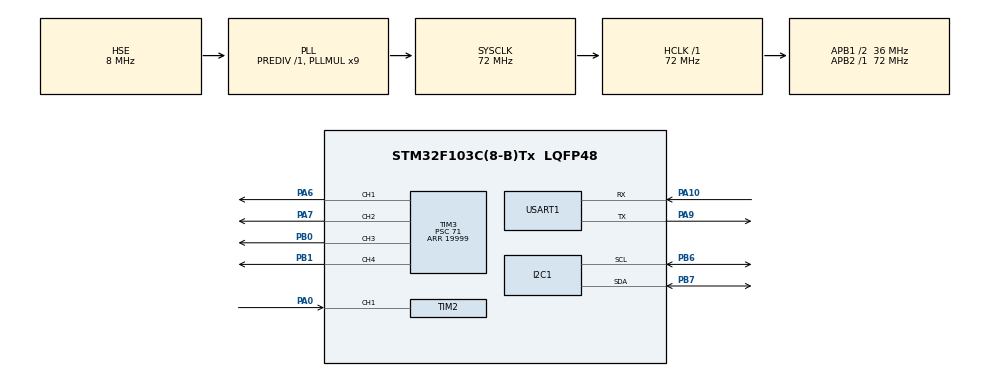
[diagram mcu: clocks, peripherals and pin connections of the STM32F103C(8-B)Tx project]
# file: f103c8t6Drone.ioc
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I2C1.I2C_Mode=I2C_Fast
Mcu.Family=STM32F1
Mcu.Name=STM32F103C(8-B)Tx
Mcu.Package=LQFP48
NVIC.PriorityGroup=NVIC_PRIORITYGROUP_4
NVIC.TIM2_IRQn=true\:0\:0\:false\:false\:true\:true\:true\:true
NVIC.USART1_IRQn=true\:0\:0\:false\:false\:true\:true\:true\:true
PA0-WKUP.Signal=S_TIM2_CH1_ETR
PA10.Mode=Asynchronous
PA10.Signal=USART1_RX
PA13.Mode=Serial_Wire
PA13.Signal=SYS_JTMS-SWDIO
PA14.Mode=Serial_Wire
PA14.Signal=SYS_JTCK-SWCLK
PA6.Signal=S_TIM3_CH1
PA7.Signal=S_TIM3_CH2
PA9.Mode=Asynchronous
PA9.Signal=USART1_TX
PB0.Signal=S_TIM3_CH3
PB1.Signal=S_TIM3_CH4
PB6.Mode=I2C
PB6.Signal=I2C1_SCL
PB7.Mode=I2C
PB7.Signal=I2C1_SDA
PD0-OSC_IN.Mode=HSE-External-Oscillator
PD0-OSC_IN.Signal=RCC_OSC_IN
PD1-OSC_OUT.Mode=HSE-External-Oscillator
PD1-OSC_OUT.Signal=RCC_OSC_OUT
ProjectManager.HeapSize=0x200
ProjectManager.StackSize=0x400
ProjectManager.TargetToolchain=STM32CubeIDE
RCC.AHBFreq_Value=72000000
RCC.APB1CLKDivider=RCC_HCLK_DIV2
RCC.APB1Freq_Value=36000000
RCC.APB1TimFreq_Value=72000000
RCC.APB2Freq_Value=72000000
RCC.APB2TimFreq_Value=72000000
RCC.HCLKFreq_Value=72000000
RCC.PLLMUL=RCC_PLL_MUL9
RCC.PLLSourceVirtual=RCC_PLLSOURCE_HSE
RCC.SYSCLKFreq_VALUE=72000000
RCC.SYSCLKSource=RCC_SYSCLKSOURCE_PLLCLK
RCC.USBFreq_Value=72000000
SH.S_TIM2_CH1_ETR.0=TIM2_CH1,Input_Capture1_from_TI1
SH.S_TIM2_CH1_ETR.1=TIM2_CH1,TriggerSource_TI1FP1
SH.S_TIM3_CH1.0=TIM3_CH1,PWM Generation1 CH1
SH.S_TIM3_CH2.0=TIM3_CH2,PWM Generation2 CH2
SH.S_TIM3_CH3.0=TIM3_CH3,PWM Generation3 CH3
SH.S_TIM3_CH4.0=TIM3_CH4,PWM Generation4 CH4
TIM2.Channel-Input_Capture1_from_TI1=TIM_CHANNEL_1
TIM2.Prescaler=71
TIM3.Channel-PWM\ Generation1\ CH1=TIM_CHANNEL_1
TIM3.Channel-PWM\ Generation2\ CH2=TIM_CHANNEL_2
TIM3.Channel-PWM\ Generation3\ CH3=TIM_CHANNEL_3
TIM3.Channel-PWM\ Generation4\ CH4=TIM_CHANNEL_4
TIM3.Period=19999
TIM3.Prescaler=71
TIM3.Pulse-PWM\ Generation1\ CH1=1000
TIM3.Pulse-PWM\ Generation2\ CH2=1000
TIM3.Pulse-PWM\ Generation3\ CH3=1000
TIM3.Pulse-PWM\ Generation4\ CH4=1000
USART1.VirtualMode=VM_ASYNC
VP_TIM2_VS_ClockSourceINT.Mode=Internal
VP_TIM2_VS_ControllerModeReset.Mode=Reset Mode
VP_TIM3_VS_ClockSourceINT.Mode=Internal
board=custom

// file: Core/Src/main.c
/* USER CODE BEGIN Header */
/**
  ******************************************************************************
  * @file           : main.c
  * @brief          : 主程序体
  ******************************************************************************
  * @attention
  *
  * 版权所有 (c) 2025 STMicroelectronics。
  * 保留所有权利。
  *
  * 本软件根据根目录中的 LICENSE 文件中的条款进行许可。
  * 如果没有提供 LICENSE 文件，则按原样提供。
  *
  ******************************************************************************
  */
/* USER CODE END Header */

/* 包含文件 ------------------------------------------------------------------*/
#include "main.h"
#include "i2c.h"
#include "tim.h"
#include "usart.h"
#include "gpio.h"

/* 私有包含文件 ----------------------------------------------------------*/
/* USER CODE BEGIN Includes */
#include <stdio.h>
#include <string.h>
#include <math.h>
#include "pid.h"
#include "mpu6050.h"
/* USER CODE END Includes */

/* 私有类型定义 -----------------------------------------------------------*/

/* 私有宏定义 ------------------------------------------------------------*/
/* USER CODE BEGIN PD */
#define MAX_CHANNELS 6
#define ARM_THRESHOLD 1300
#define YAW_ARM_MAX 1800
#define YAW_DISARM_MIN 1200
#define FAILSAFE_TIMEOUT 1000
#define PPM_SYNC_MIN 3000
#define PPM_PULSE_MIN 900
#define PPM_PULSE_MAX 2100
/* USER CODE END PD */

/* 私有变量 ---------------------------------------------------------*/
/* USER CODE BEGIN PV */
uint32_t ppm_pulse_widths[MAX_CHANNELS] = {1500, 1500, 1500, 1500, 1500, 1500};
uint8_t ppm_channel_index = 0;
uint8_t ppm_frame_complete = 0;
uint32_t last_pulse_width = 0;
uint32_t last_ppm_time = 0;

uint8_t txBuffer[200];
volatile uint8_t txComplete = 1;

uint16_t throttle, roll_in, pitch_in, yaw_in, aux1, aux2;
uint8_t armed = 0;

float filtered_pitch = 0.0f;
float filtered_roll = 0.0f;
float yaw_rate = 0.0f;

PID_t pid_pitch;
PID_t pid_roll;
PID_t pid_yaw;

uint16_t motor[4];
/* USER CODE END PV */

/* 私有函数原型 -----------------------------------------------*/
void SystemClock_Config(void);
void loop_control(float pitch, float roll, float yaw_rate, uint16_t *pwm_values, float *mix_values);
void read_ppm_channels(void);
void failsafe_check(void);

/* 私有用户代码 ---------------------------------------------------------*/
/* USER CODE BEGIN 0 */
void loop_control(float pitch, float roll, float yaw_rate, uint16_t *pwm_values, float *mix_values)
{
    static uint32_t last_debug = 0;
    if (HAL_GetTick() - last_debug > 500) {
        last_debug = HAL_GetTick();
    }

    for (uint8_t i = 0; i < MAX_CHANNELS; i++) {
        ppm_pulse_widths[i] = fminf(fmaxf(ppm_pulse_widths[i], PPM_PULSE_MIN), PPM_PULSE_MAX);
    }

    float throttle = (ppm_pulse_widths[2] - 1000) / 1000.0f;
    float target_pitch = ((ppm_pulse_widths[1] - 1500) / 500.0f) * 30.0f;
    float target_roll = ((ppm_pulse_widths[0] - 1500) / 500.0f) * 30.0f;
    float target_yaw = ((ppm_pulse_widths[3] - 1500) / 500.0f) * 30.0f;

    throttle = fminf(fmaxf(throttle, 0.0f), 1.0f);
    target_pitch = fminf(fmaxf(target_pitch, -30.0f), 30.0f);
    target_roll = fminf(fmaxf(target_roll, -30.0f), 30.0f);
    target_yaw = fminf(fmaxf(target_yaw, -30.0f), 30.0f);

    float pitch_output = PID_Update(&pid_pitch, target_pitch, pitch, 0.01f);
    float roll_output = PID_Update(&pid_roll, target_roll, roll, 0.01f);
    float yaw_output = PID_Update(&pid_yaw, target_yaw, yaw_rate, 0.01f);

    mix_values[4] = throttle;
    mix_values[5] = target_pitch;
    mix_values[6] = pitch_output;
    mix_values[7] = target_roll;
    mix_values[8] = roll_output;
    mix_values[9] = target_yaw;
    mix_values[10] = yaw_output;

    float m1 = throttle + pitch_output - roll_output + yaw_output;
    float m2 = throttle + pitch_output + roll_output - yaw_output;
    float m3 = throttle - pitch_output + roll_output + yaw_output;
    float m4 = throttle - pitch_output - roll_output - yaw_output;

    mix_values[0] = fminf(fmaxf(m1, 0.0f), 1.0f);
    mix_values[1] = fminf(fmaxf(m2, 0.0f), 1.0f);
    mix_values[2] = fminf(fmaxf(m3, 0.0f), 1.0f);
    mix_values[3] = fminf(fmaxf(m4, 0.0f), 1.0f);

    pwm_values[0] = (uint16_t)(mix_values[0] * 1000 + 1000);
    pwm_values[1] = (uint16_t)(mix_values[1] * 1000 + 1000);
    pwm_values[2] = (uint16_t)(mix_values[2] * 1000 + 1000);
    pwm_values[3] = (uint16_t)(mix_values[3] * 1000 + 1000);

    if (armed) {
        __HAL_TIM_SET_COMPARE(&htim3, TIM_CHANNEL_1, pwm_values[0]);
        __HAL_TIM_SET_COMPARE(&htim3, TIM_CHANNEL_2, pwm_values[1]);
        __HAL_TIM_SET_COMPARE(&htim3, TIM_CHANNEL_3, pwm_values[2]);
        __HAL_TIM_SET_COMPARE(&htim3, TIM_CHANNEL_4, pwm_values[3]);
    } else {
        for (int i = 0; i < 4; i++) {
            __HAL_TIM_SET_COMPARE(&htim3, TIM_CHANNEL_1 + i, 1000);
            pwm_values[i] = 1000;
        }
    }
}

void HAL_TIM_IC_CaptureCallback(TIM_HandleTypeDef *htim)
{
    if (htim->Instance == TIM2 && htim->Channel == HAL_TIM_ACTIVE_CHANNEL_1)
    {
        uint32_t pulse_width = HAL_TIM_ReadCapturedValue(htim, TIM_CHANNEL_1);
        if (pulse_width >= PPM_PULSE_MIN && pulse_width <= PPM_PULSE_MAX) {
            static uint32_t last_debug = 0;
            if (HAL_GetTick() - last_debug > 100) {
                last_debug = HAL_GetTick();
            }

            if (last_pulse_width > PPM_SYNC_MIN)
            {
                ppm_channel_index = 0;
            }
            if (ppm_channel_index < MAX_CHANNELS)
            {
                ppm_pulse_widths[ppm_channel_index] = pulse_width;
                ppm_channel_index++;
            }
            if (ppm_channel_index >= MAX_CHANNELS)
            {
                ppm_frame_complete = 1;
                last_ppm_time = HAL_GetTick();
                ppm_channel_index = 0;
            }
        }
        last_pulse_width = pulse_width;
    }
}

void read_ppm_channels(void)
{
    for (uint8_t i = 0; i < MAX_CHANNELS; i++) {
        ppm_pulse_widths[i] = (ppm_pulse_widths[i] < PPM_PULSE_MIN || ppm_pulse_widths[i] > PPM_PULSE_MAX) ? 1500 : ppm_pulse_widths[i];
    }
    roll_in = ppm_pulse_widths[0];
    pitch_in = ppm_pulse_widths[1];
    throttle = ppm_pulse_widths[2];
    yaw_in = ppm_pulse_widths[3];
    aux1 = ppm_pulse_widths[4];
    aux2 = ppm_pulse_widths[5];
}

void failsafe_check(void)
{
    if (HAL_GetTick() - last_ppm_time > FAILSAFE_TIMEOUT)
    {
        armed = 0;
        for (int i = 0; i < 4; i++)
        {
            __HAL_TIM_SET_COMPARE(&htim3, TIM_CHANNEL_1 + i, 1000);
        }
    }
}

void HAL_UART_TxCpltCallback(UART_HandleTypeDef *huart)
{
    if (huart->Instance == USART1)
    {
        txComplete = 1;
    }
}
/* USER CODE END 0 */

/**
  * @brief  应用程序入口点。
  * @retval int
  */
int main(void)
{
    /* USER CODE BEGIN 1 */
    int16_t accel[3], gyro[3];
    float pitch, roll, yaw_rate;
    uint16_t pwm_values[4];
    float mix_values[11];
    uint32_t last_debug = 0;
    /* USER CODE END 1 */

    HAL_Init();
    SystemClock_Config();
    MX_GPIO_Init();
    MX_I2C1_Init();
    MX_USART1_UART_Init();
    MX_TIM2_Init();
    MX_TIM3_Init();

    /* USER CODE BEGIN 2 */
    MPU6050_Init();
    HAL_TIM_IC_Start_IT(&htim2, TIM_CHANNEL_1);
    HAL_TIM_PWM_Start(&htim3, TIM_CHANNEL_1);
    HAL_TIM_PWM_Start(&htim3, TIM_CHANNEL_2);
    HAL_TIM_PWM_Start(&htim3, TIM_CHANNEL_3);
    HAL_TIM_PWM_Start(&htim3, TIM_CHANNEL_4);

    PID_Init(&pid_pitch, 0.004f, 0.001f, 0.0005f, 1.0f);
    PID_Init(&pid_roll, 0.004f, 0.001f, 0.0005f, 1.0f);
    PID_Init(&pid_yaw, 0.004f, 0.001f, 0.0005f, 1.0f);
    /* USER CODE END 2 */

    /* 无限循环 */
    /* USER CODE BEGIN WHILE */
    while (1)
    {
        failsafe_check();

        if (ppm_frame_complete)
        {
            ppm_frame_complete = 0;
            read_ppm_channels();

            if (throttle < ARM_THRESHOLD && yaw_in > YAW_ARM_MAX)
                armed = 1;
            if (throttle < ARM_THRESHOLD && yaw_in < YAW_DISARM_MIN)
                armed = 0;
        }

        MPU6050_Read_Accel_Gyro(accel, gyro);
        Calculate_Angles(accel, gyro, &pitch, &roll, &yaw_rate);
        Apply_LowPass_Filter(pitch, &filtered_pitch);
        Apply_LowPass_Filter(roll, &filtered_roll);

        loop_control(filtered_pitch, filtered_roll, yaw_rate, pwm_values, mix_values);

        HAL_Delay(2);
        /* USER CODE END WHILE */

    }
}

/**
  * @brief 系统时钟配置
  * @retval 无
  */
void SystemClock_Config(void)
{
    RCC_OscInitTypeDef RCC_OscInitStruct = {0};
    RCC_ClkInitTypeDef RCC_ClkInitStruct = {0};

    RCC_OscInitStruct.OscillatorType = RCC_OSCILLATORTYPE_HSE;
    RCC_OscInitStruct.HSEState = RCC_HSE_ON;
    RCC_OscInitStruct.HSEPredivValue = RCC_HSE_PREDIV_DIV1;
    RCC_OscInitStruct.HSIState = RCC_HSI_ON;
    RCC_OscInitStruct.PLL.PLLState = RCC_PLL_ON;
    RCC_OscInitStruct.PLL.PLLSource = RCC_PLLSOURCE_HSE;
    RCC_OscInitStruct.PLL.PLLMUL = RCC_PLL_MUL9;
    if (HAL_RCC_OscConfig(&RCC_OscInitStruct) != HAL_OK)
    {
        Error_Handler();
    }

    RCC_ClkInitStruct.ClockType = RCC_CLOCKTYPE_HCLK | RCC_CLOCKTYPE_SYSCLK
                                | RCC_CLOCKTYPE_PCLK1 | RCC_CLOCKTYPE_PCLK2;
    RCC_ClkInitStruct.SYSCLKSource = RCC_SYSCLKSOURCE_PLLCLK;
    RCC_ClkInitStruct.AHBCLKDivider = RCC_SYSCLK_DIV1;
    RCC_ClkInitStruct.APB1CLKDivider = RCC_HCLK_DIV2;
    RCC_ClkInitStruct.APB2CLKDivider = RCC_HCLK_DIV1;

    if (HAL_RCC_ClockConfig(&RCC_ClkInitStruct, FLASH_LATENCY_2) != HAL_OK)
    {
        Error_Handler();
    }
}

/**
  * @brief  错误发生时执行的函数。
  * @retval 无
  */
void Error_Handler(void)
{
    __disable_irq();
    while (1)
    {
    }
}
